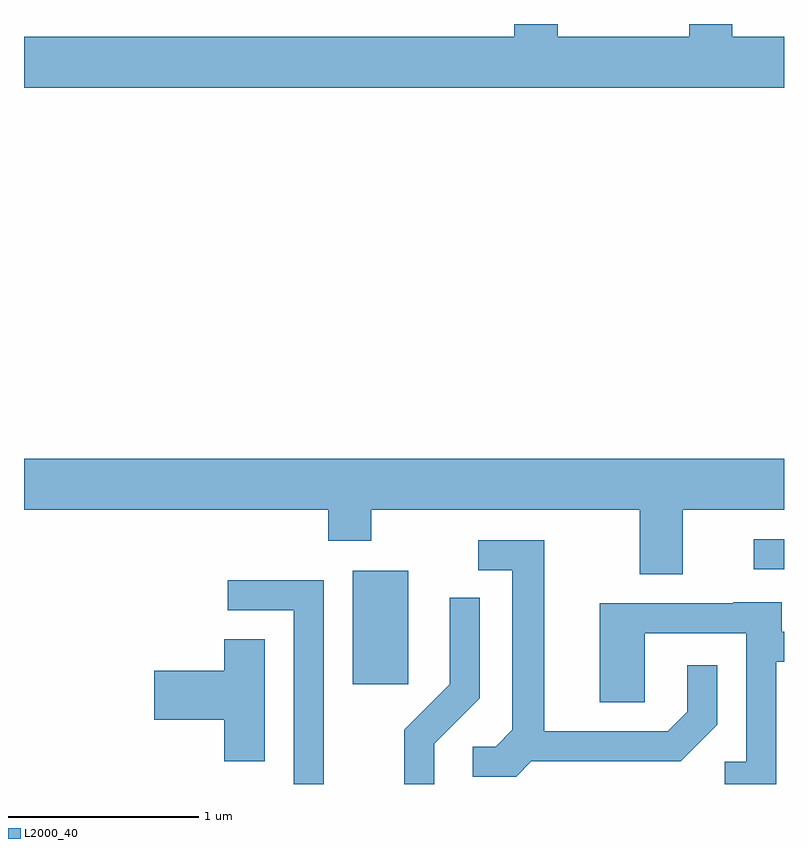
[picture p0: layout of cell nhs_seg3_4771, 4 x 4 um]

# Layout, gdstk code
import gdstk
lib = gdstk.Library(unit=1e-6, precision=1e-09)
def R(c, l, rs):  # rectangles x0, y0, x1, y1
    for r in rs: c.add(gdstk.rectangle(r[:2], r[2:], *l))
def P(c, l, *ps):  # polygons
    for p in ps: c.add(gdstk.Polygon(p, *l))
L2000_40 = (2000, 40)

nhs_seg3_4771 = lib.new_cell('nhs_seg3_4771')
R(nhs_seg3_4771, L2000_40, [(327.341,1138.416,327.634,1139.014), (329.453,1139.021,329.611,1139.179)])
P(nhs_seg3_4771, L2000_40, [(329.611,1141.824),(329.339,1141.824),(329.339,1141.892),(329.111,1141.892),(329.111,1141.824),(328.419,1141.824),(328.419,1141.892),(328.191,1141.892),(328.191,1141.824),(325.611,1141.824),(325.611,1141.556),(329.611,1141.556)],
  [(329.079,1139.336),(329.611,1139.336),(329.611,1139.604),(325.611,1139.604),(325.611,1139.336),(327.211,1139.336),(327.211,1139.171),(327.439,1139.171),(327.439,1139.336),(328.851,1139.336),(328.851,1138.996),(329.079,1138.996)],
  [(328.282,1138.011),(329.067,1138.011),(329.259,1138.204),(329.259,1138.518),(329.101,1138.518),(329.101,1138.272),(328.999,1138.169),(328.349,1138.169),(328.349,1139.174),(328.003,1139.174),(328.003,1139.016),(328.181,1139.016),(328.181,1138.177),(328.094,1138.089),(327.973,1138.089),(327.973,1137.931),(328.202,1137.931)],
  [(327.189,1138.964),(326.683,1138.964),(326.683,1138.806),(327.031,1138.806),(327.031,1137.892),(327.189,1137.892)],
  [(327.769,1138.104),(328.009,1138.344),(328.009,1138.873),(327.851,1138.873),(327.851,1138.417),(327.611,1138.177),(327.611,1137.892),(327.769,1137.892)],
  [(329.569,1138.536),(329.611,1138.536),(329.611,1138.694),(329.599,1138.694),(329.599,1138.849),(329.345,1138.849),(329.345,1138.844),(328.641,1138.844),(328.641,1138.321),(328.879,1138.321),(328.879,1138.686),(329.411,1138.686),(329.411,1138.009),(329.298,1138.009),(329.298,1137.892),(329.569,1137.892)],
  [(326.879,1138.654),(326.666,1138.654),(326.666,1138.489),(326.296,1138.489),(326.296,1138.231),(326.666,1138.231),(326.666,1138.011),(326.879,1138.011)])

lib.write_gds('nhs_seg3_4771.gds')
